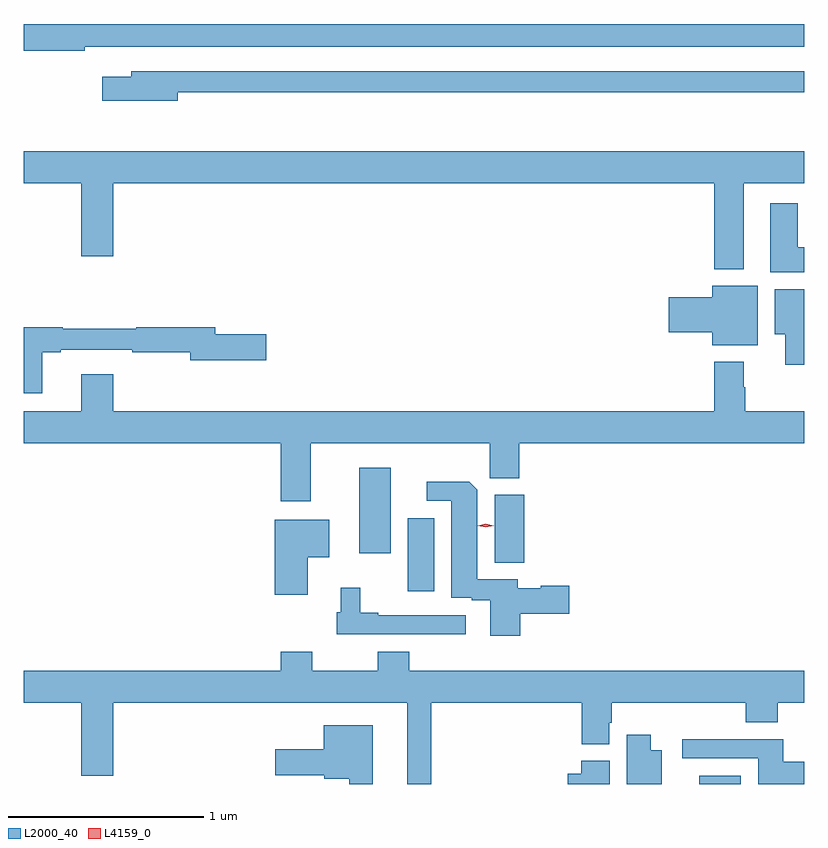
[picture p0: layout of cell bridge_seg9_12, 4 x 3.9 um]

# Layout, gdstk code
import gdstk
lib = gdstk.Library(unit=1e-6, precision=1e-09)
def R(c, l, rs):  # rectangles x0, y0, x1, y1
    for r in rs: c.add(gdstk.rectangle(r[:2], r[2:], *l))
def P(c, l, *ps):  # polygons
    for p in ps: c.add(gdstk.Polygon(p, *l))
L2000_40 = (2000, 40)
L4159_0 = (4159, 0)

bridge_seg9_12 = lib.new_cell('bridge_seg9_12')
R(bridge_seg9_12, L2000_40, [(995.348,1233.3,995.56,1233.343), (993.854,1234.287,993.988,1234.663), (994.298,1234.435,994.451,1234.782), (993.605,1234.482,993.766,1234.921)])
P(bridge_seg9_12, L2000_40, [(992.198,1237.08),(995.885,1237.08),(995.885,1237.196),(991.885,1237.196),(991.885,1237.06),(992.198,1237.06)],
  [(992.674,1236.846),(995.885,1236.846),(995.885,1236.954),(992.435,1236.954),(992.435,1236.925),(992.286,1236.925),(992.286,1236.803),(992.674,1236.803)],
  [(995.575,1236.38),(995.885,1236.38),(995.885,1236.544),(991.885,1236.544),(991.885,1236.38),(992.18,1236.38),(992.18,1236.006),(992.344,1236.006),(992.344,1236.38),(995.423,1236.38),(995.423,1235.939),(995.575,1235.939)],
  [(995.885,1236.052),(995.851,1236.052),(995.851,1236.277),(995.711,1236.277),(995.711,1235.924),(995.885,1235.924)],
  [(995.647,1235.854),(995.414,1235.854),(995.414,1235.795),(995.19,1235.795),(995.19,1235.617),(995.414,1235.617),(995.414,1235.549),(995.647,1235.549)],
  [(995.885,1235.836),(995.735,1235.836),(995.735,1235.606),(995.789,1235.606),(995.789,1235.448),(995.885,1235.448)],
  [(991.979,1235.514),(992.074,1235.514),(992.074,1235.526),(992.44,1235.526),(992.44,1235.514),(992.738,1235.514),(992.738,1235.471),(993.127,1235.471),(993.127,1235.606),(992.866,1235.606),(992.866,1235.642),(992.462,1235.642),(992.462,1235.635),(992.084,1235.635),(992.084,1235.642),(991.885,1235.642),(991.885,1235.304),(991.979,1235.304)],
  [(993.355,1235.048),(994.273,1235.048),(994.273,1234.867),(994.424,1234.867),(994.424,1235.048),(995.885,1235.048),(995.885,1235.212),(995.583,1235.212),(995.583,1235.333),(995.575,1235.333),(995.575,1235.464),(995.423,1235.464),(995.423,1235.212),(992.344,1235.212),(992.344,1235.401),(992.18,1235.401),(992.18,1235.212),(991.885,1235.212),(991.885,1235.048),(993.203,1235.048),(993.203,1234.749),(993.355,1234.749)],
  [(994.43,1234.174),(994.681,1234.174),(994.681,1234.316),(994.534,1234.316),(994.534,1234.303),(994.417,1234.303),(994.417,1234.35),(994.21,1234.35),(994.21,1234.808),(994.169,1234.85),(993.951,1234.85),(993.951,1234.752),(994.076,1234.752),(994.076,1234.254),(994.181,1234.254),(994.181,1234.242),(994.277,1234.242),(994.277,1234.059),(994.43,1234.059)],
  [(993.34,1234.463),(993.451,1234.463),(993.451,1234.654),(993.17,1234.654),(993.17,1234.269),(993.34,1234.269)],
  [(994.15,1234.164),(993.703,1234.164),(993.703,1234.177),(993.609,1234.177),(993.609,1234.306),(993.509,1234.306),(993.509,1234.181),(993.49,1234.181),(993.49,1234.068),(994.15,1234.068)],
  [(993.973,1233.716),(994.745,1233.716),(994.745,1233.505),(994.885,1233.505),(994.885,1233.615),(994.898,1233.615),(994.898,1233.716),(995.585,1233.716),(995.585,1233.617),(995.75,1233.617),(995.75,1233.716),(995.885,1233.716),(995.885,1233.88),(993.86,1233.88),(993.86,1233.979),(993.7,1233.979),(993.7,1233.88),(993.363,1233.88),(993.363,1233.979),(993.203,1233.979),(993.203,1233.88),(991.885,1233.88),(991.885,1233.716),(992.18,1233.716),(992.18,1233.342),(992.344,1233.342),(992.344,1233.716),(993.851,1233.716),(993.851,1233.3),(993.973,1233.3)],
  [(993.673,1233.601),(993.422,1233.601),(993.422,1233.478),(993.174,1233.478),(993.174,1233.344),(993.426,1233.344),(993.426,1233.326),(993.552,1233.326),(993.552,1233.3),(993.673,1233.3)],
  [(995.155,1233.472),(995.098,1233.472),(995.098,1233.553),(994.976,1233.553),(994.976,1233.3),(995.155,1233.3)],
  [(995.885,1233.415),(995.777,1233.415),(995.777,1233.53),(995.259,1233.53),(995.259,1233.432),(995.651,1233.432),(995.651,1233.3),(995.885,1233.3)],
  [(994.888,1233.42),(994.742,1233.42),(994.742,1233.352),(994.673,1233.352),(994.673,1233.3),(994.888,1233.3)])
P(bridge_seg9_12, L4159_0, [(994.253,1234.615),(994.212,1234.625),(994.212,1234.625),(994.212,1234.625),(994.253,1234.635),(994.294,1234.625),(994.294,1234.625),(994.294,1234.625)])

lib.write_gds('bridge_seg9_12.gds')
